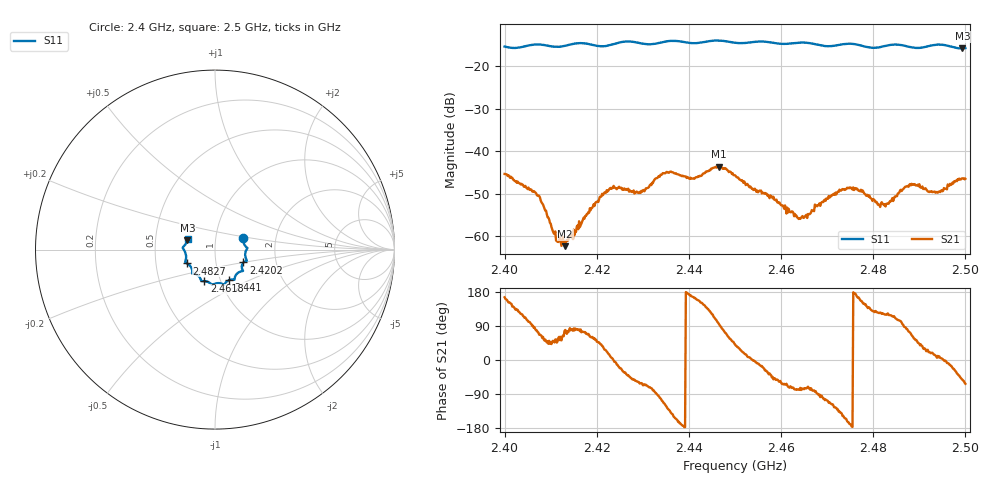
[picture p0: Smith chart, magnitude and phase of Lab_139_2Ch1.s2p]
# Hz S RI R 50
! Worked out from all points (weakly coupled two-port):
!   601 points, 2.4 GHz to 2.5 GHz, reference 50 ohm
!   highest |S21| = -43.58 dB at 2.4465 GHz (marker M1); lowest = -62.3 dB at 2.4132 GHz (marker M2)
!   lowest |S11| = -15.8 dB at 2.4993 GHz (marker M3), VSWR 1.39, Z = 36.5 + j3.84 ohm
!   |S11| at or under -10 dB: start of sweep to end of sweep
!   S12 and S22 are empty: the file has one direction only
!   S11 on the Smith chart (normalised r, x): 2.4 GHz: 1.36, +0.18; 2.4202 GHz: 1.36, -0.20; 2.441 GHz: 1.10, -0.39; 2.4618 GHz: 0.84, -0.30; 2.4827 GHz: 0.72, -0.12; 2.5 GHz: 0.73, +0.09
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2.4e9  0.1586 0.063  -0.00526 0.00135  0 0  0 0
2.407167e9  0.1809 0.00839  0.000839 0.00289  0 0  0 0
2.411167e9  0.1685 -0.018  0.000522 0.000727  0 0  0 0
2.413167e9  0.1697 -0.0409  0.000144 0.000756  0 0  0 0
2.416667e9  0.1773 -0.0609  0.000411 0.00136  0 0  0 0
2.420167e9  0.1586 -0.0714  0.00173 0.00193  0 0  0 0
2.423333e9  0.1498 -0.1008  0.00373 0.000319  0 0  0 0
2.429333e9  0.1428 -0.1221  0.00156 -0.00296  0 0  0 0
2.433333e9  0.1116 -0.1507  -0.000363 -0.00503  0 0  0 0
2.441e9  0.0786 -0.1698  -0.00466 0.00118  0 0  0 0
2.4465e9  0.0489 -0.1952  -0.000587 0.00659  0 0  0 0
2.45e9  0.0284 -0.1874  0.00394 0.00345  0 0  0 0
2.461833e9  -0.0592 -0.1754  0.000567 -0.00186  0 0  0 0
2.464e9  -0.0736 -0.1752  0.000326 -0.0016  0 0  0 0
2.466667e9  -0.0789 -0.1683  0.000434 -0.002  0 0  0 0
2.474833e9  -0.1271 -0.1339  -0.00363 -0.000728  0 0  0 0
2.482667e9  -0.1562 -0.0772  -0.00113 0.00195  0 0  0 0
2.483333e9  -0.1605 -0.075  -0.00116 0.00213  0 0  0 0
2.488333e9  -0.1609 -0.0455  0.00172 0.00379  0 0  0 0
2.494e9  -0.18 0.00903  0.00321 0.000611  0 0  0 0
2.499333e9  -0.154 0.0513  0.00298 -0.00379  0 0  0 0
2.5e9  -0.1521 0.0608  0.00218 -0.00424  0 0  0 0
